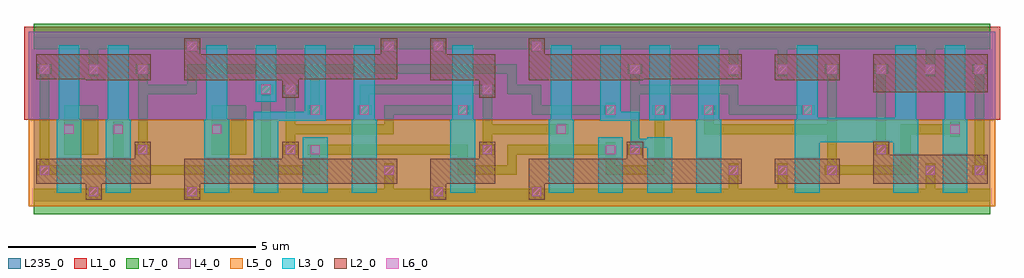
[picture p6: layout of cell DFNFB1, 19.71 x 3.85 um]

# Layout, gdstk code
import gdstk
lib = gdstk.Library(unit=1e-6, precision=1e-09)
def R(c, l, rs):  # rectangles x0, y0, x1, y1
    for r in rs: c.add(gdstk.rectangle(r[:2], r[2:], *l))
def A(c, l, x, y, w, h, nx, ny, dx, dy):  # array of equal rectangles
    R(c, l, [(x+i*dx, y+j*dy, x+i*dx+w, y+j*dy+h) for i in range(nx) for j in range(ny)])
def P(c, l, *ps):  # polygons
    for p in ps: c.add(gdstk.Polygon(p, *l))
L1_0 = (1, 0)
L2_0 = (2, 0)
L3_0 = (3, 0)
L4_0 = (4, 0)
L5_0 = (5, 0)
L6_0 = (6, 0)
L7_0 = (7, 0)
L235_0 = (235, 0)

dfnfb1 = lib.new_cell('DFNFB1')
R(dfnfb1, L1_0, [(-0.2,1.653,19.512,3.532)])
R(dfnfb1, L2_0, [(14.96,0.363,16.28,0.863), (16.948,2.209,19.262,2.969), (14.96,2.449,16.28,2.969)])
P(dfnfb1, L2_0, [(1.044,0.036),(1.044,0.363),(0.05,0.363),(0.05,0.863),(2.038,0.863),(2.038,1.209),(2.364,1.209),(2.364,0.363),(1.37,0.363),(1.37,0.036)],
  [(3.032,0.036),(3.032,0.863),(5.02,0.863),(5.02,1.209),(5.346,1.209),(5.346,0.863),(7.334,0.863),(7.334,0.363),(3.358,0.363),(3.358,0.036)],
  [(8.002,0.036),(8.002,0.863),(8.996,0.863),(8.996,1.209),(9.322,1.209),(9.322,0.363),(8.328,0.363),(8.328,0.036)],
  [(9.99,0.036),(9.99,0.863),(11.978,0.863),(11.978,1.209),(12.304,1.209),(12.304,0.863),(14.292,0.863),(14.292,0.363),(10.316,0.363),(10.316,0.036)],
  [(16.948,0.363),(16.948,1.209),(17.274,1.209),(17.274,0.943),(19.262,0.943),(19.262,0.363)],
  [(1.044,2.449),(1.044,2.469),(0.05,2.469),(0.05,2.969),(2.364,2.969),(2.364,2.449)],
  [(5.02,2.097),(5.02,2.449),(3.032,2.449),(3.032,3.296),(3.358,3.296),(3.358,2.969),(7.008,2.969),(7.008,3.296),(7.334,3.296),(7.334,2.469),(5.346,2.469),(5.346,2.097)],
  [(8.996,2.097),(8.996,2.449),(8.002,2.449),(8.002,3.296),(8.328,3.296),(8.328,2.969),(9.322,2.969),(9.322,2.097)],
  [(9.99,2.449),(9.99,3.296),(10.316,3.296),(10.316,2.969),(14.292,2.969),(14.292,2.469),(12.304,2.469),(12.304,2.449)])
R(dfnfb1, L3_0, [(5.43,0.177,5.93,1.296), (11.394,0.177,11.894,1.296), (12.428,1.637,12.848,3.155), (4.476,2.01,4.896,3.155)])
P(dfnfb1, L3_0, [(0.46,0.177),(0.46,1.653),(0.5,1.653),(0.5,3.155),(0.92,3.155),(0.92,1.653),(0.96,1.653),(0.96,0.177)],
  [(1.454,0.177),(1.454,1.653),(1.494,1.653),(1.494,3.155),(1.914,3.155),(1.914,1.653),(1.954,1.653),(1.954,0.177)],
  [(3.442,0.177),(3.442,1.653),(3.482,1.653),(3.482,3.155),(3.902,3.155),(3.902,1.653),(3.942,1.653),(3.942,0.177)],
  [(4.436,0.177),(4.436,1.809),(5.47,1.809),(5.47,3.155),(5.89,3.155),(5.89,1.629),(4.936,1.629),(4.936,0.177)],
  [(6.424,0.177),(6.424,1.653),(6.464,1.653),(6.464,3.155),(6.884,3.155),(6.884,1.653),(6.924,1.653),(6.924,0.177)],
  [(8.412,0.177),(8.412,1.653),(8.452,1.653),(8.452,3.155),(8.872,3.155),(8.872,1.653),(8.912,1.653),(8.912,0.177)],
  [(10.4,0.177),(10.4,1.653),(10.44,1.653),(10.44,3.155),(10.86,3.155),(10.86,1.653),(10.9,1.653),(10.9,0.177)],
  [(12.388,0.177),(12.388,1.084),(12.051,1.084),(12.051,1.629),(11.434,1.629),(11.434,3.155),(11.854,3.155),(11.854,1.809),(12.231,1.809),(12.231,1.264),(12.388,1.264),(12.388,1.296),(12.888,1.296),(12.888,0.177)],
  [(13.382,0.177),(13.382,1.653),(13.422,1.653),(13.422,3.155),(13.842,3.155),(13.842,1.653),(13.882,1.653),(13.882,0.177)],
  [(15.37,0.177),(15.37,1.653),(15.41,1.653),(15.41,3.155),(15.83,3.155),(15.83,1.696),(17.398,1.696),(17.398,3.155),(17.818,3.155),(17.818,1.653),(17.858,1.653),(17.858,0.177),(17.358,0.177),(17.358,1.196),(15.87,1.196),(15.87,0.177)],
  [(18.352,0.177),(18.352,1.653),(18.392,1.653),(18.392,3.155),(18.812,3.155),(18.812,1.653),(18.852,1.653),(18.852,0.177)])
R(dfnfb1, L4_0, [(-0.1,1.653,19.412,3.432)])
R(dfnfb1, L5_0, [(-0.1,-0.1,19.412,1.653)])
A(dfnfb1, L6_0, 0.12, 0.54, 0.186, 0.186, 3, 1, 6.958, 0)
A(dfnfb1, L6_0, 11.551, 1.754, 0.186, 0.186, 3, 1, 0.994, 0)
A(dfnfb1, L6_0, 0.12, 2.58, 0.186, 0.186, 3, 1, 0.994, 0)
A(dfnfb1, L6_0, 14.036, 2.58, 0.186, 0.186, 6, 1, 0.994, 0)
R(dfnfb1, L6_0, [(1.114,0.106,1.3,0.292), (3.102,0.106,3.288,0.292), (8.072,0.106,8.258,0.292), (10.06,0.106,10.246,0.292), (15.03,0.54,15.216,0.726), (16.024,0.54,16.21,0.726), (18.012,0.54,18.198,0.726), (19.006,0.54,19.192,0.726), (2.108,0.953,2.294,1.139), (5.09,0.953,5.276,1.139), (5.587,0.953,5.773,1.139), (9.066,0.953,9.252,1.139), (11.551,0.953,11.737,1.139), (12.048,0.953,12.234,1.139), (17.018,0.953,17.204,1.139), (0.617,1.366,0.803,1.552), (1.611,1.366,1.797,1.552), (3.599,1.366,3.785,1.552), (10.557,1.366,10.743,1.552), (18.509,1.366,18.695,1.552), (5.587,1.754,5.773,1.94), (6.581,1.754,6.767,1.94), (8.569,1.754,8.755,1.94), (15.527,1.754,15.713,1.94), (4.593,2.167,4.779,2.353), (5.09,2.167,5.276,2.353), (9.066,2.167,9.252,2.353), (12.048,2.58,12.234,2.766), (3.102,3.04,3.288,3.226), (7.078,3.04,7.264,3.226), (8.072,3.04,8.258,3.226), (10.06,3.04,10.246,3.226)])
R(dfnfb1, L7_0, [(0.613,0.949,1.304,1.944), (3.595,0.949,4.286,1.944)])
P(dfnfb1, L7_0, [(0,-0.26),(0,0.26),(1.11,0.26),(1.11,0.296),(1.304,0.296),(1.304,0.26),(3.098,0.26),(3.098,0.296),(3.292,0.296),(3.292,0.26),(7.074,0.26),(7.074,0.776),(7.268,0.776),(7.268,0.26),(8.068,0.26),(8.068,0.296),(8.262,0.296),(8.262,0.26),(10.056,0.26),(10.056,0.296),(10.25,0.296),(10.25,0.26),(14.032,0.26),(14.032,0.776),(14.226,0.776),(14.226,0.26),(15.026,0.26),(15.026,0.776),(15.22,0.776),(15.22,0.26),(18.008,0.26),(18.008,0.776),(18.202,0.776),(18.202,0.26),(19.312,0.26),(19.312,-0.26)],
  [(5.036,0.949),(5.036,1.143),(5.086,1.143),(5.086,2.163),(5.036,2.163),(5.036,2.357),(5.33,2.357),(5.33,2.163),(5.28,2.163),(5.28,1.556),(7.074,1.556),(7.074,1.944),(8.809,1.944),(8.809,1.75),(7.268,1.75),(7.268,1.362),(5.28,1.362),(5.28,1.143),(5.33,1.143),(5.33,0.949)],
  [(9.012,0.949),(9.012,1.143),(9.062,1.143),(9.062,2.163),(6.771,2.163),(6.771,1.944),(6.821,1.944),(6.821,1.75),(6.527,1.75),(6.527,1.944),(6.577,1.944),(6.577,2.357),(9.306,2.357),(9.306,2.163),(9.256,2.163),(9.256,1.556),(10.797,1.556),(10.797,1.362),(9.256,1.362),(9.256,1.143),(9.306,1.143),(9.306,0.949)],
  [(0.066,0.536),(0.066,0.73),(0.116,0.73),(0.116,2.576),(0.066,2.576),(0.066,2.77),(0.36,2.77),(0.36,2.576),(0.31,2.576),(0.31,0.73),(1.607,0.73),(1.607,1.606),(1.801,1.606),(1.801,0.73),(4.589,0.73),(4.589,2.163),(4.539,2.163),(4.539,2.357),(4.833,2.357),(4.833,2.163),(4.783,2.163),(4.783,0.73),(5.583,0.73),(5.583,0.949),(5.533,0.949),(5.533,1.143),(8.759,1.143),(8.759,0.73),(9.559,0.73),(9.559,1.143),(11.547,1.143),(11.547,1.193),(11.741,1.193),(11.741,0.73),(12.541,0.73),(12.541,1.75),(12.491,1.75),(12.491,1.944),(12.785,1.944),(12.785,1.75),(12.735,1.75),(12.735,0.536),(11.547,0.536),(11.547,0.949),(9.753,0.949),(9.753,0.536),(8.565,0.536),(8.565,0.949),(5.777,0.949),(5.777,0.536)],
  [(2.054,0.949),(2.054,1.143),(2.104,1.143),(2.104,2.576),(2.054,2.576),(2.054,2.77),(2.348,2.77),(2.348,2.576),(2.298,2.576),(2.298,2.357),(3.098,2.357),(3.098,2.77),(9.753,2.77),(9.753,2.357),(10.25,2.357),(10.25,1.944),(11.547,1.944),(11.547,1.994),(11.741,1.994),(11.741,1.7),(11.547,1.7),(11.547,1.75),(10.056,1.75),(10.056,2.163),(9.559,2.163),(9.559,2.576),(5.777,2.576),(5.777,1.944),(5.827,1.944),(5.827,1.75),(5.533,1.75),(5.533,1.944),(5.583,1.944),(5.583,2.576),(3.292,2.576),(3.292,2.163),(2.298,2.163),(2.298,1.143),(2.348,1.143),(2.348,0.949)],
  [(11.994,0.949),(11.994,1.143),(12.044,1.143),(12.044,2.576),(11.994,2.576),(11.994,2.77),(12.288,2.77),(12.288,2.576),(12.238,2.576),(12.238,2.357),(14.226,2.357),(14.226,1.944),(15.767,1.944),(15.767,1.75),(14.032,1.75),(14.032,2.163),(12.238,2.163),(12.238,1.143),(12.288,1.143),(12.288,0.949)],
  [(15.97,0.536),(15.97,0.73),(16.02,0.73),(16.02,1.362),(13.535,1.362),(13.535,1.75),(13.485,1.75),(13.485,1.944),(13.779,1.944),(13.779,1.75),(13.729,1.75),(13.729,1.556),(16.02,1.556),(16.02,2.576),(15.97,2.576),(15.97,2.77),(16.264,2.77),(16.264,2.576),(16.214,2.576),(16.214,0.73),(17.511,0.73),(17.511,1.556),(18.505,1.556),(18.505,1.606),(18.699,1.606),(18.699,1.312),(18.505,1.312),(18.505,1.362),(17.705,1.362),(17.705,0.536)],
  [(16.964,0.949),(16.964,1.143),(17.014,1.143),(17.014,2.576),(16.964,2.576),(16.964,2.77),(17.258,2.77),(17.258,2.576),(17.208,2.576),(17.208,1.143),(17.258,1.143),(17.258,0.949)],
  [(18.952,0.536),(18.952,0.73),(19.002,0.73),(19.002,2.576),(18.952,2.576),(18.952,2.77),(19.246,2.77),(19.246,2.576),(19.196,2.576),(19.196,0.73),(19.246,0.73),(19.246,0.536)],
  [(1.11,2.53),(1.11,3.072),(0,3.072),(0,3.592),(19.312,3.592),(19.312,3.072),(18.202,3.072),(18.202,2.53),(18.008,2.53),(18.008,3.072),(15.22,3.072),(15.22,2.53),(15.026,2.53),(15.026,3.072),(14.226,3.072),(14.226,2.53),(14.032,2.53),(14.032,3.072),(10.25,3.072),(10.25,3.036),(10.056,3.036),(10.056,3.072),(8.262,3.072),(8.262,3.036),(8.068,3.036),(8.068,3.072),(7.268,3.072),(7.268,3.036),(7.074,3.036),(7.074,3.072),(3.292,3.072),(3.292,3.036),(3.098,3.036),(3.098,3.072),(1.304,3.072),(1.304,2.53)])
R(dfnfb1, L235_0, [(0,0,19.312,3.332)])

lib.write_gds('DFNFB1.gds')
